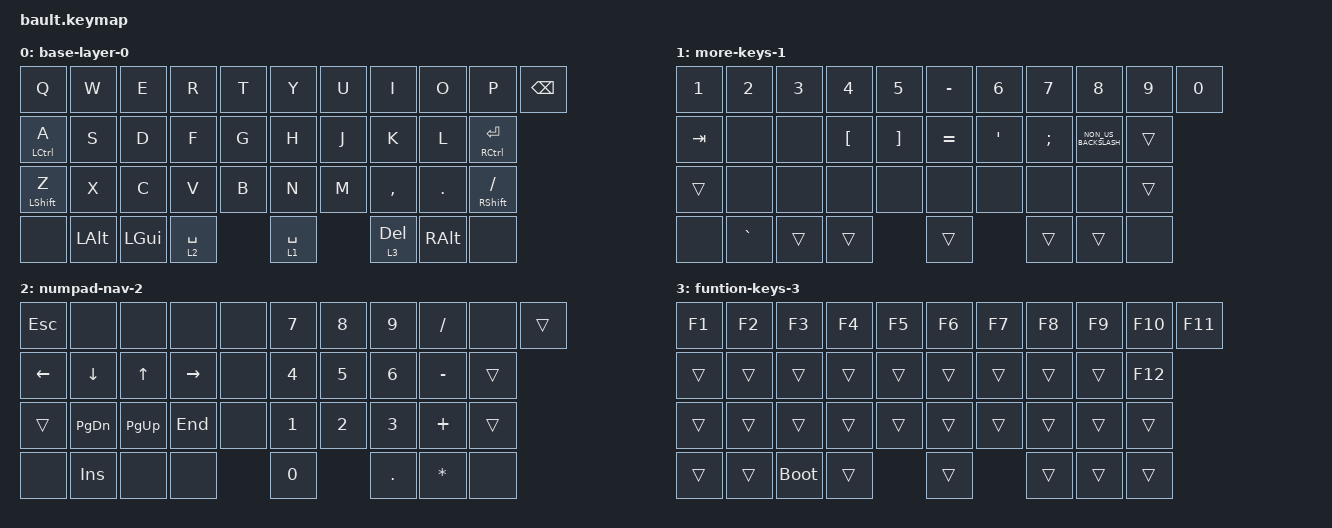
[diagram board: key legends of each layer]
#include <behaviors.dtsi>
#include <dt-bindings/zmk/keys.h>

/ {
    behaviors {
        hm: homerow_mods {
            compatible = "zmk,behavior-hold-tap";
            display-name = "Homerow Mods";
            bindings = <&kp>, <&kp>;

            #binding-cells = <2>;
            tapping-term-ms = <250>;
            quick-tap-ms = <180>;
            require-prior-idle-ms = <0>;
            flavor = "tap-preferred";
        };
    };

    combos {
        compatible = "zmk,combos";

        Caps-Lock {
            bindings = <&caps_word>;
            key-positions = <21 30>;
        };
    };

    macros {
        new_macro: new_macro {
            compatible = "zmk,behavior-macro";
            #binding-cells = <0>;
            bindings = <&none>;
            label = "NEW_MACRO";
        };
    };

    keymap {
        compatible = "zmk,keymap";

        base-layer-0 {
            bindings = <
&kp Q               &kp W         &kp E     &kp R        &kp T  &kp Y        &kp U  &kp I         &kp O       &kp P                  &kp BACKSPACE
&hm LEFT_CONTROL A  &kp S         &kp D     &kp F        &kp G  &kp H        &kp J  &kp K         &kp L       &hm RCTRL ENTER
&hm LEFT_SHIFT Z    &kp X         &kp C     &kp V        &kp B  &kp N        &kp M  &kp COMMA     &kp PERIOD  &hm RIGHT_SHIFT SLASH
&none               &kp LEFT_ALT  &kp LGUI  &lt 2 SPACE         &lt 1 SPACE         &lt 3 DELETE  &kp RALT    &none
            >;
        };

        more-keys-1 {
            bindings = <
&kp N1   &kp N2     &kp N3  &kp N4    &kp N5    &kp MINUS  &kp N6   &kp N7         &kp N8                &kp N9  &kp N0
&kp TAB  &none      &none   &kp LBKT  &kp RBKT  &kp EQUAL  &kp SQT  &kp SEMICOLON  &kp NON_US_BACKSLASH  &trans
&trans   &none      &none   &none     &none     &none      &none    &none          &none                 &trans
&none    &kp GRAVE  &trans  &trans              &trans              &trans         &trans                &none
            >;
        };

        numpad-nav-2 {
            bindings = <
&kp ESCAPE  &none      &none      &none      &none  &kp N7  &kp N8  &kp N9      &kp SLASH  &none   &trans
&kp LEFT    &kp DOWN   &kp UP     &kp RIGHT  &none  &kp N4  &kp N5  &kp N6      &kp MINUS  &trans
&trans      &kp PG_DN  &kp PG_UP  &kp END    &none  &kp N1  &kp N2  &kp N3      &kp PLUS   &trans
&none       &kp INS    &none      &none             &kp N0          &kp PERIOD  &kp ASTRK  &none
            >;
        };

        funtion-keys-3 {
            bindings = <
&kp F1  &kp F2  &kp F3       &kp F4  &kp F5  &kp F6  &kp F7  &kp F8  &kp F9  &kp F10  &kp F11
&trans  &trans  &trans       &trans  &trans  &trans  &trans  &trans  &trans  &kp F12
&trans  &trans  &trans       &trans  &trans  &trans  &trans  &trans  &trans  &trans
&trans  &trans  &bootloader  &trans          &trans          &trans  &trans  &trans
            >;
        };
    };
};
